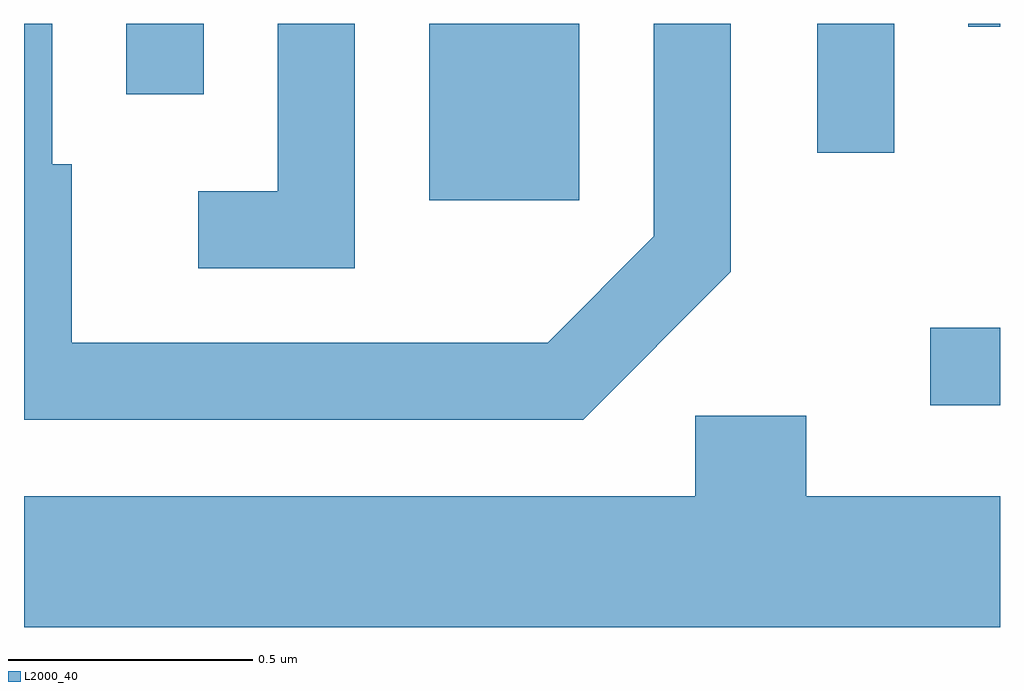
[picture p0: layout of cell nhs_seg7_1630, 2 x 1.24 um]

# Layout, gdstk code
import gdstk
lib = gdstk.Library(unit=1e-6, precision=1e-09)
def R(c, l, rs):  # rectangles x0, y0, x1, y1
    for r in rs: c.add(gdstk.rectangle(r[:2], r[2:], *l))
def P(c, l, *ps):  # polygons
    for p in ps: c.add(gdstk.Polygon(p, *l))
L2000_40 = (2000, 40)

nhs_seg7_1630 = lib.new_cell('nhs_seg7_1630')
R(nhs_seg7_1630, L2000_40, [(198.468,1792.471,198.611,1792.629), (197.441,1792.891,197.749,1793.252), (198.236,1792.988,198.394,1793.252), (196.821,1793.108,196.979,1793.252), (198.546,1793.246,198.611,1793.252)])
P(nhs_seg7_1630, L2000_40, [(197.289,1793.252),(197.131,1793.252),(197.131,1792.909),(196.968,1792.909),(196.968,1792.751),(197.289,1792.751)],
  [(198.059,1792.744),(198.059,1793.252),(197.901,1793.252),(197.901,1792.817),(197.684,1792.599),(196.709,1792.599),(196.709,1792.964),(196.669,1792.964),(196.669,1793.252),(196.611,1793.252),(196.611,1792.441),(197.757,1792.441)],
  [(198.611,1792.284),(198.214,1792.284),(198.214,1792.449),(197.986,1792.449),(197.986,1792.284),(196.611,1792.284),(196.611,1792.016),(198.611,1792.016)])

lib.write_gds('nhs_seg7_1630.gds')
